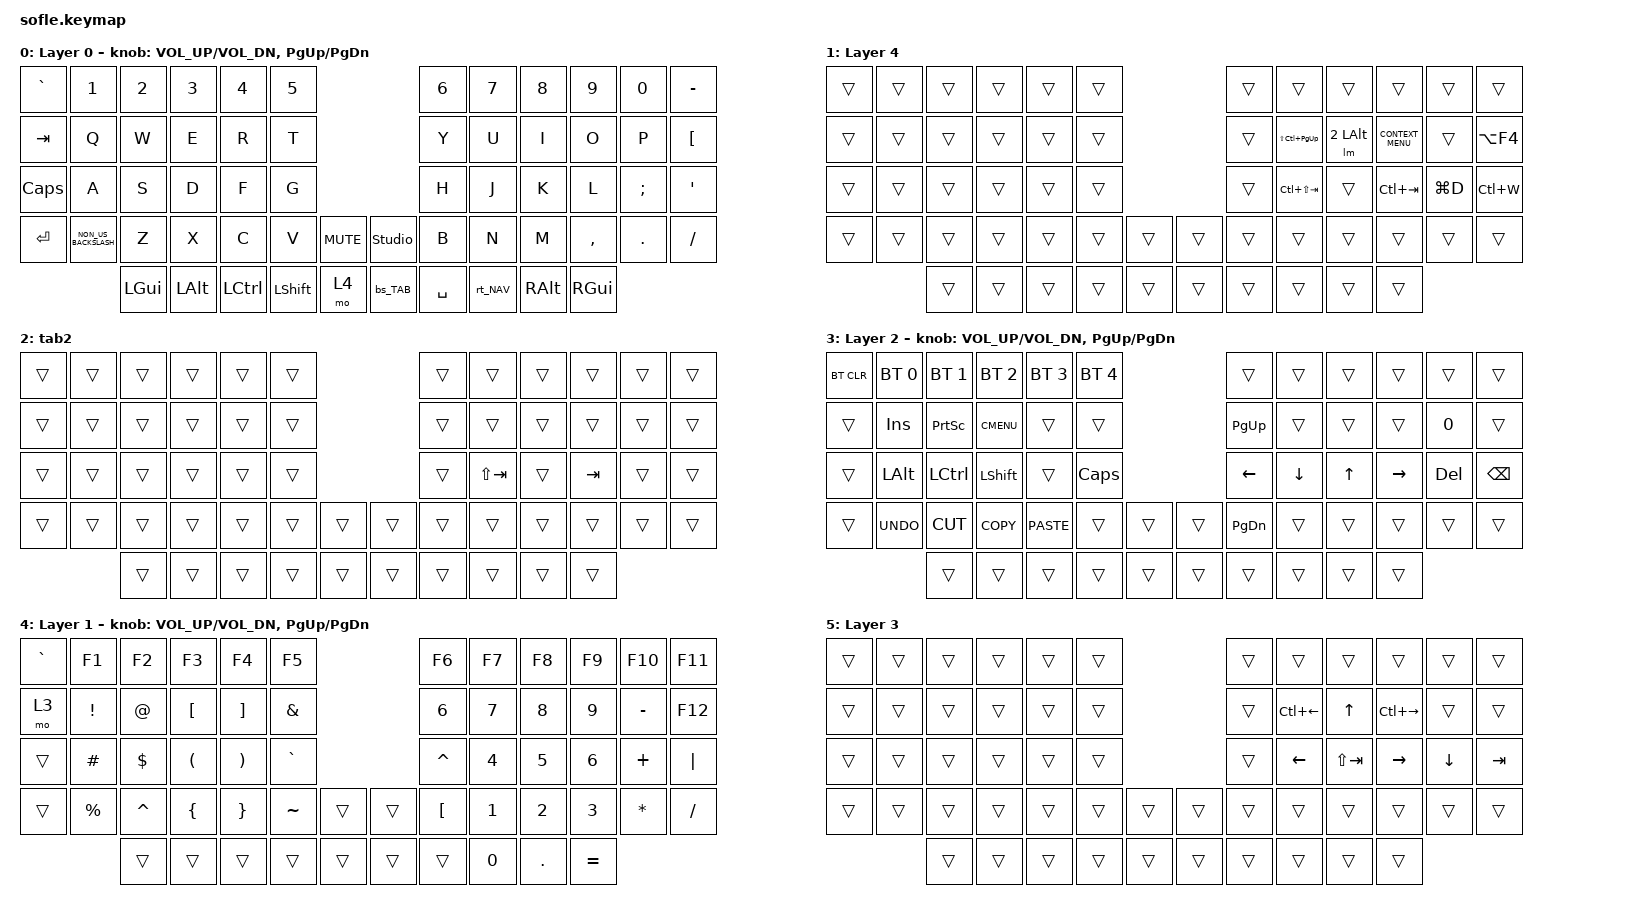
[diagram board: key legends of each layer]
/*
 * Copyright (c) 2020 The ZMK Contributors
 *
 * SPDX-License-Identifier: MIT
 */

#include <behaviors.dtsi>
#include <dt-bindings/zmk/bt.h>
#include <dt-bindings/zmk/keys.h>

&nice_view_spi { cs-gpios = <&pro_micro 0 GPIO_ACTIVE_HIGH>; };

/ {
    behaviors {
        bs_TAB: bs_TAB {
            compatible = "zmk,behavior-tap-dance";
            label = "BS_TAB";
            #binding-cells = <0>;
            bindings = <&lt 1 BACKSPACE>;
        };

        rt_NAV: rt_NAV {
            compatible = "zmk,behavior-tap-dance";
            label = "RT_NAV";
            #binding-cells = <0>;
            bindings = <&lt 5 RET>;
        };
    };

    macros {
        lm: lm {
            compatible = "zmk,behavior-macro-two-param";
            wait-ms = <0>;
            tap-ms = <0>;
            #binding-cells = <2>;
            bindings =
                <&macro_param_1to1>,
                <&macro_press>,
                <&mo MACRO_PLACEHOLDER &macro_param_2to1>,
                <&macro_press>,
                <&kp MACRO_PLACEHOLDER>,
                <&macro_pause_for_release>,
                <&macro_param_2to1>,
                <&macro_release>,
                <&kp MACRO_PLACEHOLDER &macro_param_1to1>,
                <&macro_release>,
                <&mo MACRO_PLACEHOLDER>;
        };
    };

    keymap {
        compatible = "zmk,keymap";

        default_layer {
            display-name = "Layer 0";

            // ------------------------------------------------------------------------------------------------------------
            // |  `    |  1  |  2  |  3   |  4   |  5   |                   |  6   |  7    |  8    |  9   |   0   |       |
            // |  ESC  |  Q  |  W  |  E   |  R   |  T   |                   |  Y   |  U    |  I    |  O   |   P   | BKSPC |
            // |  TAB  |  A  |  S  |  D   |  F   |  G   |                   |  H   |  J    |  K    |  L   |   ;   |   '   |
            // | SHIFT |  Z  |  X  |  C   |  V   |  B   |  MUTE  |  |       |  N   |  M    |  ,    |  .   |   /   | SHIFT |
            //               | GUI | ALT  | CTRL | LOWER|  ENTER |  | SPACE | RAISE| CTRL  | ALT   | GUI  |

            bindings = <
&kp GRAVE  &kp N1                &kp N2    &kp N3    &kp N4     &kp N5                                        &kp N6     &kp N7   &kp N8    &kp N9     &kp N0      &kp MINUS
&kp TAB    &kp Q                 &kp W     &kp E     &kp R      &kp T                                         &kp Y      &kp U    &kp I     &kp O      &kp P       &kp LEFT_BRACKET
&kp CAPS   &kp A                 &kp S     &kp D     &kp F      &kp G                                         &kp H      &kp J    &kp K     &kp L      &kp SEMI    &kp SQT
&kp ENTER  &kp NON_US_BACKSLASH  &kp Z     &kp X     &kp C      &kp V           &kp K_MUTE    &studio_unlock  &kp B      &kp N    &kp M     &kp COMMA  &kp PERIOD  &kp SLASH
                                 &kp LGUI  &kp LALT  &kp LCTRL  &kp LEFT_SHIFT  &mo 4         &bs_TAB         &kp SPACE  &rt_NAV  &kp RALT  &kp RGUI
            >;

            sensor-bindings = <&inc_dec_kp C_VOL_UP C_VOL_DN &inc_dec_kp PG_UP PG_DN>;
        };

        tab {
            display-name = "Layer 4";
            bindings = <
&trans  &trans  &trans  &trans  &trans  &trans                    &trans  &trans             &trans          &trans              &trans     &trans
&trans  &trans  &trans  &trans  &trans  &trans                    &trans  &kp LS(LC(PG_UP))  &lm 2 LEFT_ALT  &kp K_CONTEXT_MENU  &trans     &kp LA(F4)
&trans  &trans  &trans  &trans  &trans  &trans                    &trans  &kp LC(LS(TAB))    &trans          &kp LC(TAB)         &kp LG(D)  &kp LC(W)
&trans  &trans  &trans  &trans  &trans  &trans  &trans    &trans  &trans  &trans             &trans          &trans              &trans     &trans
                &trans  &trans  &trans  &trans  &trans    &trans  &trans  &trans             &trans          &trans
            >;
        };

        tab2 {
            bindings = <
&trans  &trans  &trans  &trans  &trans  &trans                    &trans  &trans       &trans  &trans   &trans  &trans
&trans  &trans  &trans  &trans  &trans  &trans                    &trans  &trans       &trans  &trans   &trans  &trans
&trans  &trans  &trans  &trans  &trans  &trans                    &trans  &kp LS(TAB)  &trans  &kp TAB  &trans  &trans
&trans  &trans  &trans  &trans  &trans  &trans  &trans    &trans  &trans  &trans       &trans  &trans   &trans  &trans
                &trans  &trans  &trans  &trans  &trans    &trans  &trans  &trans       &trans  &trans
            >;
        };

        raise_layer {
            display-name = "Layer 2";

            // ------------------------------------------------------------------------------------------------------------
            // |BTCLR| BT1  | BT2  |  BT3  |  BT4  |  BT5 |                |      |      |       |      |       |       |
            // |     | INS  | PSCR | GUI   |       |      |                | PGUP |      |       |      |       |       |
            // |     | ALT  | CTRL | SHIFT |       | CAPS |                |  <-  |   v  |   ^   |  ->  |  DEL  | BKSPC |
            // |     | UNDO | CUT  | COPY  | PASTE |      |      |  |      |      |      |       |      |       |       |
            //              |      |       |       |      |      |  |      |      |      |       |      |

            bindings = <
&bt BT_CLR  &bt BT_SEL 0  &bt BT_SEL 1  &bt BT_SEL 2  &bt BT_SEL 3  &bt BT_SEL 4                    &trans         &trans    &trans  &trans     &trans   &trans
&trans      &kp INS       &kp PSCRN     &kp K_CMENU   &trans        &trans                          &kp PG_UP      &trans    &trans  &trans     &kp N0   &trans
&trans      &kp LALT      &kp LCTRL     &kp LSHFT     &trans        &kp CLCK                        &kp LEFT       &kp DOWN  &kp UP  &kp RIGHT  &kp DEL  &kp BSPC
&trans      &kp K_UNDO    &kp K_CUT     &kp K_COPY    &kp K_PASTE   &trans        &trans    &trans  &kp PAGE_DOWN  &trans    &trans  &trans     &trans   &trans
                          &trans        &trans        &trans        &trans        &trans    &trans  &trans         &trans    &trans  &trans
            >;

            sensor-bindings = <&inc_dec_kp C_VOL_UP C_VOL_DN &inc_dec_kp PG_UP PG_DN>;
        };

        lower_layer {
            display-name = "Layer 1";

            // TODO: Some binds are waiting for shifted keycode support.
            // ------------------------------------------------------------------------------------------------------------
            // | `     |  F1 |  F2 |  F3  |  F4  |  F5  |                   |  F6  |  F7   |  F8   |  F9  |  F10  |  F11  |
            // | RAISE |   1 |   2 |   3  |   4  |   5  |                   |   6  |   7   |   8   |   9  |    0  |  F12  |
            // |       |  !  |  @  |  #   |  $   |  %   |                   |  ^   |  &    |  *    |  (   |   )   |   |   |
            // |       |  =  |  -  |  +   |  {   |  }   |        |  |       |  [   |  ]    |  ;    |  :   |   \   |       |
            //               |     |      |      |      |        |  |       |      |       |       |      |

            bindings = <
&kp GRAVE  &kp F1           &kp F2       &kp F3                &kp F4                 &kp F5                           &kp F6     &kp F7        &kp F8        &kp F9        &kp F10       &kp F11
&mo 3      &kp EXCLAMATION  &kp AT_SIGN  &kp LEFT_BRACKET      &kp RIGHT_BRACKET      &kp AMPERSAND                    &kp N6     &kp N7        &kp N8        &kp N9        &kp MINUS     &kp F12
&trans     &kp HASH         &kp DOLLAR   &kp LEFT_PARENTHESIS  &kp RIGHT_PARENTHESIS  &kp GRAVE                        &kp CARET  &kp NUMBER_4  &kp N5        &kp NUMBER_6  &kp PLUS      &kp PIPE
&trans     &kp PERCENT      &kp CARET    &kp LEFT_BRACE        &kp RIGHT_BRACE        &kp TILDE      &trans    &trans  &kp LBKT   &kp NUMBER_1  &kp NUMBER_2  &kp NUMBER_3  &kp ASTERISK  &kp SLASH
                            &trans       &trans                &trans                 &trans         &trans    &trans  &trans     &kp N0        &kp PERIOD    &kp EQUAL
            >;

            sensor-bindings = <&inc_dec_kp C_VOL_UP C_VOL_DN &inc_dec_kp PG_UP PG_DN>;
        };

        nav {
            display-name = "Layer 3";
            bindings = <
&trans  &trans  &trans  &trans  &trans  &trans                    &trans  &trans        &trans       &trans         &trans    &trans
&trans  &trans  &trans  &trans  &trans  &trans                    &trans  &kp LC(LEFT)  &kp UP       &kp LC(RIGHT)  &trans    &trans
&trans  &trans  &trans  &trans  &trans  &trans                    &trans  &kp LEFT      &kp LS(TAB)  &kp RIGHT      &kp DOWN  &kp TAB
&trans  &trans  &trans  &trans  &trans  &trans  &trans    &trans  &trans  &trans        &trans       &trans         &trans    &trans
                &trans  &trans  &trans  &trans  &trans    &trans  &trans  &trans        &trans       &trans
            >;
        };
    };
};
